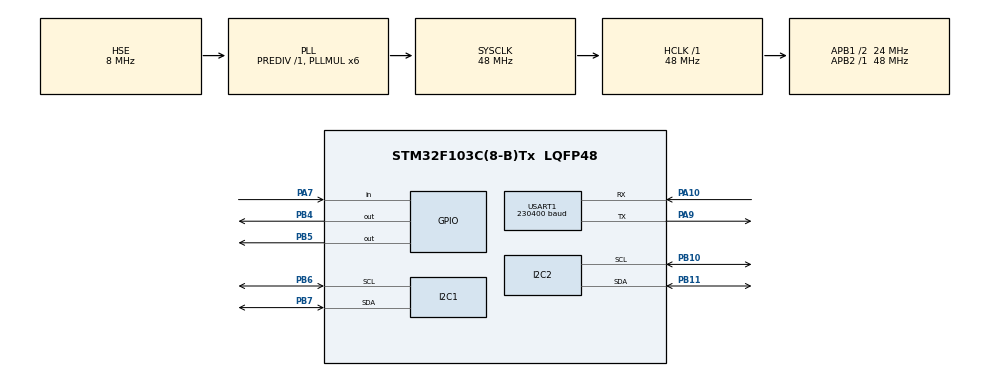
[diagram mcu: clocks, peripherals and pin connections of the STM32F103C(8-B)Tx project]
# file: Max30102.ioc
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FREERTOS.Tasks01=MaxSample,24,128,StartMaxSample,Default,NULL,Dynamic,NULL,NULL;OledUpdate,8,128,StartOledUpdate,Default,NULL,Dynamic,NULL,NULL;UsartUpdate,8,128,StartUsartUpdate,Default,NULL,Dynamic,NULL,NULL;Algorithm,8,128,StartAlgorithm,Default,NULL,Dynamic,NULL,NULL
I2C1.I2C_Mode=I2C_Standard
I2C2.I2C_Mode=I2C_Standard
Mcu.Family=STM32F1
Mcu.Name=STM32F103C(8-B)Tx
Mcu.Package=LQFP48
NVIC.PriorityGroup=NVIC_PRIORITYGROUP_4
NVIC.TIM4_IRQn=true\:15\:0\:false\:false\:true\:false\:false\:true\:true
NVIC.TimeBase=TIM4_IRQn
NVIC.TimeBaseIP=TIM4
PA10.Mode=Asynchronous
PA10.Signal=USART1_RX
PA13.Mode=Serial_Wire
PA13.Signal=SYS_JTMS-SWDIO
PA14.Mode=Serial_Wire
PA14.Signal=SYS_JTCK-SWCLK
PA7.Signal=GPIO_Input
PA9.Mode=Asynchronous
PA9.Signal=USART1_TX
PB10.Mode=I2C
PB10.Signal=I2C2_SCL
PB11.Mode=I2C
PB11.Signal=I2C2_SDA
PB4.Signal=GPIO_Output
PB5.PinState=GPIO_PIN_SET
PB5.Signal=GPIO_Output
PB6.Mode=I2C
PB6.Signal=I2C1_SCL
PB7.Mode=I2C
PB7.Signal=I2C1_SDA
PC14-OSC32_IN.Mode=LSE-External-Oscillator
PC14-OSC32_IN.Signal=RCC_OSC32_IN
PC15-OSC32_OUT.Mode=LSE-External-Oscillator
PC15-OSC32_OUT.Signal=RCC_OSC32_OUT
PD0-OSC_IN.Mode=HSE-External-Oscillator
PD0-OSC_IN.Signal=RCC_OSC_IN
PD1-OSC_OUT.Mode=HSE-External-Oscillator
PD1-OSC_OUT.Signal=RCC_OSC_OUT
ProjectManager.HeapSize=0x200
ProjectManager.StackSize=0x400
ProjectManager.TargetToolchain=Makefile
RCC.AHBFreq_Value=48000000
RCC.APB1CLKDivider=RCC_HCLK_DIV2
RCC.APB1Freq_Value=24000000
RCC.APB1TimFreq_Value=48000000
RCC.APB2Freq_Value=48000000
RCC.APB2TimFreq_Value=48000000
RCC.HCLKFreq_Value=48000000
RCC.PLLMUL=RCC_PLL_MUL6
RCC.PLLSourceVirtual=RCC_PLLSOURCE_HSE
RCC.SYSCLKFreq_VALUE=48000000
RCC.SYSCLKSource=RCC_SYSCLKSOURCE_PLLCLK
RCC.USBFreq_Value=48000000
USART1.BaudRate=230400
USART1.VirtualMode=VM_ASYNC
USART1.WordLength=WORDLENGTH_9B
VP_FREERTOS_VS_CMSIS_V2.Mode=CMSIS_V2
VP_SYS_VS_tim4.Mode=TIM4
board=custom

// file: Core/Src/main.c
/* USER CODE BEGIN Header */
/**
  ******************************************************************************
  * @file           : main.c
  * @brief          : Main program body
  ******************************************************************************
  * @attention
  *
  * Copyright (c) 2024 STMicroelectronics.
  * All rights reserved.
  *
  * This software is licensed under terms that can be found in the LICENSE file
  * in the root directory of this software component.
  * If no LICENSE file comes with this software, it is provided AS-IS.
  *
  ******************************************************************************
  */
/* USER CODE END Header */
#include "main.h"
#include "cmsis_os.h"
#include "i2c.h"
#include "usart.h"
#include "gpio.h"

/* USER CODE BEGIN Includes */
#include "OLED.h"
#include "Max30102.h"
#include "cmsis_os2.h"

/* USER CODE END Includes */

void SystemClock_Config(void);
void MX_FREERTOS_Init(void);

int main(void)
{

  /* MCU Configuration--------------------------------------------------------*/

  /* Reset of all peripherals, Initializes the Flash interface and the Systick. */
  HAL_Init();

  /* Configure the system clock */
  SystemClock_Config();

  /* Initialize all configured peripherals */
  MX_GPIO_Init();
  MX_I2C1_Init();
  MX_I2C2_Init();
  MX_USART1_UART_Init();
  /* USER CODE BEGIN 2 */
  OLED_Init();
  Max30102_Init();
  /* USER CODE END 2 */

  /* Init scheduler */
  osKernelInitialize();

  /* Call init function for freertos objects (in cmsis_os2.c) */
  MX_FREERTOS_Init();

  /* Start scheduler */
  osKernelStart();

  /* We should never get here as control is now taken by the scheduler */

  /* Infinite loop */
  while (1)
  {

  }
}

void SystemClock_Config(void)
{
  RCC_OscInitTypeDef RCC_OscInitStruct = {0};
  RCC_ClkInitTypeDef RCC_ClkInitStruct = {0};

  /** Initializes the RCC Oscillators according to the specified parameters
  * in the RCC_OscInitTypeDef structure.
  */
  RCC_OscInitStruct.OscillatorType = RCC_OSCILLATORTYPE_HSE;
  RCC_OscInitStruct.HSEState = RCC_HSE_ON;
  RCC_OscInitStruct.HSEPredivValue = RCC_HSE_PREDIV_DIV1;
  RCC_OscInitStruct.HSIState = RCC_HSI_ON;
  RCC_OscInitStruct.PLL.PLLState = RCC_PLL_ON;
  RCC_OscInitStruct.PLL.PLLSource = RCC_PLLSOURCE_HSE;
  RCC_OscInitStruct.PLL.PLLMUL = RCC_PLL_MUL6;
  if (HAL_RCC_OscConfig(&RCC_OscInitStruct) != HAL_OK)
  {
    Error_Handler();
  }

  /** Initializes the CPU, AHB and APB buses clocks
  */
  RCC_ClkInitStruct.ClockType = RCC_CLOCKTYPE_HCLK|RCC_CLOCKTYPE_SYSCLK
                              |RCC_CLOCKTYPE_PCLK1|RCC_CLOCKTYPE_PCLK2;
  RCC_ClkInitStruct.SYSCLKSource = RCC_SYSCLKSOURCE_PLLCLK;
  RCC_ClkInitStruct.AHBCLKDivider = RCC_SYSCLK_DIV1;
  RCC_ClkInitStruct.APB1CLKDivider = RCC_HCLK_DIV2;
  RCC_ClkInitStruct.APB2CLKDivider = RCC_HCLK_DIV1;

  if (HAL_RCC_ClockConfig(&RCC_ClkInitStruct, FLASH_LATENCY_1) != HAL_OK)
  {
    Error_Handler();
  }
}

void HAL_TIM_PeriodElapsedCallback(TIM_HandleTypeDef *htim)
{
  if (htim->Instance == TIM4) {
    HAL_IncTick();
  }
}

void Error_Handler(void)
{
  __disable_irq();
  while (1)
  {
  }
}

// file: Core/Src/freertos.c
/* USER CODE BEGIN Header */
/**
  ******************************************************************************
  * File Name          : freertos.c
  * Description        : Code for freertos applications
  ******************************************************************************
  * @attention
  *
  * Copyright (c) 2024 STMicroelectronics.
  * All rights reserved.
  *
  * This software is licensed under terms that can be found in the LICENSE file
  * in the root directory of this software component.
  * If no LICENSE file comes with this software, it is provided AS-IS.
  *
  ******************************************************************************
  */
/* USER CODE END Header */

#include "FreeRTOS.h"
#include "task.h"
#include "main.h"
#include "cmsis_os.h"

/* USER CODE BEGIN Includes */
#include "OLED.h"
#include "Max30102.h"
#include "usart.h"

/* USER CODE END Includes */

/* Definitions for MaxSample */
osThreadId_t MaxSampleHandle;
const osThreadAttr_t MaxSample_attributes = {
  .name = "MaxSample",
  .stack_size = 128 * 4,
  .priority = (osPriority_t) osPriorityNormal,
};
/* Definitions for OledUpdate */
osThreadId_t OledUpdateHandle;
const osThreadAttr_t OledUpdate_attributes = {
  .name = "OledUpdate",
  .stack_size = 128 * 4,
  .priority = (osPriority_t) osPriorityLow,
};
/* Definitions for UsartUpdate */
osThreadId_t UsartUpdateHandle;
const osThreadAttr_t UsartUpdate_attributes = {
  .name = "UsartUpdate",
  .stack_size = 128 * 4,
  .priority = (osPriority_t) osPriorityLow,
};
/* Definitions for Algorithm */
osThreadId_t AlgorithmHandle;
const osThreadAttr_t Algorithm_attributes = {
  .name = "Algorithm",
  .stack_size = 128 * 4,
  .priority = (osPriority_t) osPriorityLow,
};

void StartMaxSample(void *argument);
void StartOledUpdate(void *argument);
void StartUsartUpdate(void *argument);
void StartAlgorithm(void *argument);

void MX_FREERTOS_Init(void); /* (MISRA C 2004 rule 8.1) */

void MX_FREERTOS_Init(void) {
  /* USER CODE BEGIN Init */
    // Max30102_Safety();
  // OLED_ShowString(4,1,"hello");
    // OLED_ShowString(4,3,"begining");
    // HAL_UART_Transmit(&huart1, "begining", 1, 0xFFFF);

  /* USER CODE END Init */

  /* Create the thread(s) */
  /* creation of MaxSample */
  MaxSampleHandle = osThreadNew(StartMaxSample, NULL, &MaxSample_attributes);

  /* creation of OledUpdate */
  OledUpdateHandle = osThreadNew(StartOledUpdate, NULL, &OledUpdate_attributes);

  /* creation of UsartUpdate */
  UsartUpdateHandle = osThreadNew(StartUsartUpdate, NULL, &UsartUpdate_attributes);

  /* creation of Algorithm */
  AlgorithmHandle = osThreadNew(StartAlgorithm, NULL, &Algorithm_attributes);

}

void StartMaxSample(void *argument)
{
  /* USER CODE BEGIN StartMaxSample */
  /* Infinite loop */
  for(;;)
  {
	// Read();
    osDelay(1);
  }
  /* USER CODE END StartMaxSample */
}

void StartOledUpdate(void *argument)
{
  /* USER CODE BEGIN StartOledUpdate */
  /* Infinite loop */
  for(;;)
  {

    OLED_ShowString(4,1,"hello");
    osDelay(100);
  }
  /* USER CODE END StartOledUpdate */
}

void StartUsartUpdate(void *argument)
{
  /* USER CODE BEGIN StartUsartUpdate */

  char myString[5];   // 定义一个包含字符的字符数组，这里假设只有一个字符
  myString[0] = 'A';  // 将字符存储到字符数组中
  myString[1] = 'B';    // 添加字符串终止符
  myString[2] = 'C';    // 添加字符串终止符
  myString[3] = '\r';    // 添加字符串终止符
  myString[4] = '\n';    // 添加字符串终止符

  /* Infinite loop */
  for(;;)
  {
    HAL_UART_Transmit(&huart1, (uint8_t *)myString, 5, 100);  // 传递字符数组给函数
    osDelay(100);
  }
  /* USER CODE END StartUsartUpdate */
}

void StartAlgorithm(void *argument)
{
  /* USER CODE BEGIN StartAlgorithm */
  /* Infinite loop */
  for(;;)
  {
    // OLED_Clear();
    OLED_ShowString(4,7,"hello");
    osDelay(10);
  }
  /* USER CODE END StartAlgorithm */
}
